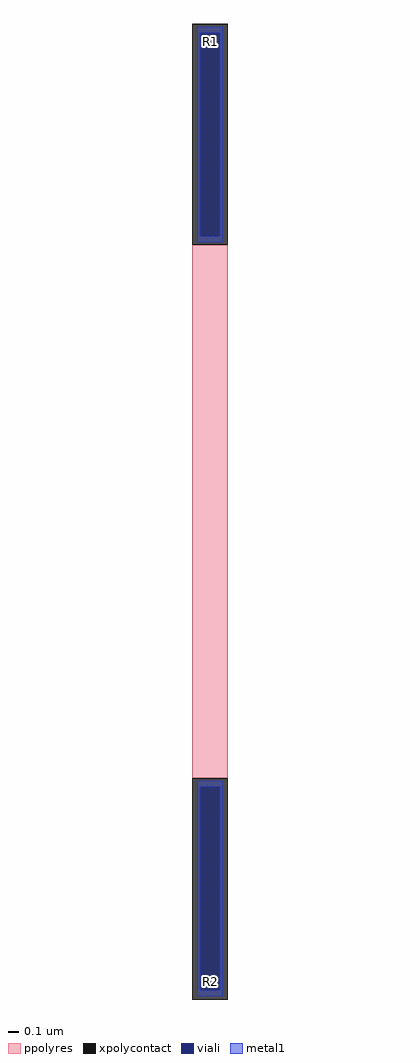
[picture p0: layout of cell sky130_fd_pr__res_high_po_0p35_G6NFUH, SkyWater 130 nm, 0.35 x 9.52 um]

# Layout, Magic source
magic
tech sky130A
magscale 1 2
<< xpolycontact >>
rect -35 520 35 952
rect -35 -952 35 -520
<< ppolyres >>
rect -35 -520 35 520
<< viali >>
rect -19 537 19 934
rect -19 -934 19 -537
<< metal1 >>
rect -25 934 25 946
rect -25 537 -19 934
rect 19 537 25 934
rect -25 525 25 537
rect -25 -537 25 -525
rect -25 -934 -19 -537
rect 19 -934 25 -537
rect -25 -946 25 -934
<< labels >>
rlabel xpolycontact 0 917 0 917 0 R1
port 1 nsew
rlabel xpolycontact 0 -917 0 -917 0 R2
port 2 nsew
<< properties >>
string gencell sky130_fd_pr__res_high_po_0p35
string library sky130
string parameters w 0.35 l 5.36 m 1 nx 1 wmin 0.350 lmin 0.50 class resistor rho 319.8 val 6.01k dummy 0 dw 0.0 term 194.82 sterm 0.0 caplen 0 guard 0 glc 1 grc 1 gtc 1 gbc 1 compatible {sky130_fd_pr__res_high_po_0p35  sky130_fd_pr__res_high_po_0p69 sky130_fd_pr__res_high_po_1p41  sky130_fd_pr__res_high_po_2p85 sky130_fd_pr__res_high_po_5p73} snake 0 full_metal 1 wmax 0.350 vias 1 n_guard 0 hv_guard 0 viagb 0 viagt 0 viagl 0 viagr 0 doports 1
<< end >>
